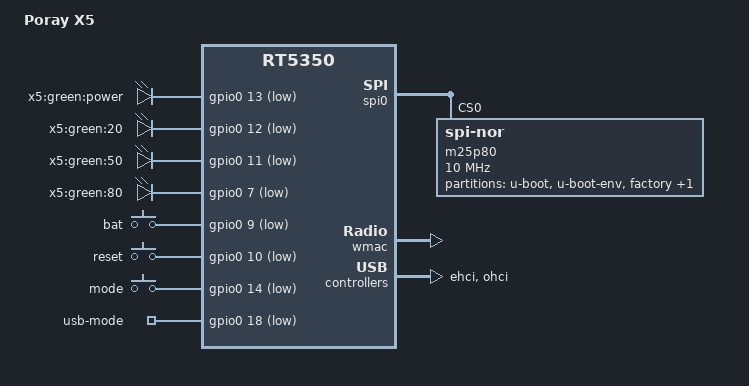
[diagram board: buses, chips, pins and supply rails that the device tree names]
/dts-v1/;

#include "rt5350.dtsi"

#include <dt-bindings/gpio/gpio.h>
#include <dt-bindings/input/input.h>

/ {
	compatible = "poray,x5", "ralink,rt5350-soc";
	model = "Poray X5";

	aliases {
		led-status = &led_power;
	};

	gpio-leds {
		compatible = "gpio-leds";

		led_power: power {
			label = "x5:green:power";
			gpios = <&gpio0 13 GPIO_ACTIVE_LOW>;
		};

		20 {
			label = "x5:green:20";
			gpios = <&gpio0 12 GPIO_ACTIVE_LOW>;
		};

		50 {
			label = "x5:green:50";
			gpios = <&gpio0 11 GPIO_ACTIVE_LOW>;
		};

		80 {
			label = "x5:green:80";
			gpios = <&gpio0 7 GPIO_ACTIVE_LOW>;
		};
	};

	gpio-keys-polled {
		compatible = "gpio-keys-polled";
		poll-interval = <20>;

		bat {
			label = "bat";
			gpios = <&gpio0 9 GPIO_ACTIVE_LOW>;
			linux,code = <KEY_WPS_BUTTON>;
		};

		reset {
			label = "reset";
			gpios = <&gpio0 10 GPIO_ACTIVE_LOW>;
			linux,code = <KEY_RESTART>;
		};

		mode {
			label = "mode";
			gpios = <&gpio0 14 GPIO_ACTIVE_LOW>;
			linux,code = <BTN_0>;
			linux,input-type = <EV_SW>;
		};
	};

	gpio_export {
		compatible = "gpio-export";
		#size-cells = <0>;

		usb-mode {
			gpio-export,name = "usb-mode";
			gpio-export,output = <0>;
			gpios = <&gpio0 18 GPIO_ACTIVE_LOW>;
		};
	};
};

&spi0 {
	status = "okay";

	m25p80@0 {
		compatible = "jedec,spi-nor";
		reg = <0>;
		spi-max-frequency = <10000000>;

		partitions {
			compatible = "fixed-partitions";
			#address-cells = <1>;
			#size-cells = <1>;

			partition@0 {
				label = "u-boot";
				reg = <0x0 0x30000>;
				read-only;
			};

			partition@30000 {
				label = "u-boot-env";
				reg = <0x30000 0x10000>;
				read-only;
			};

			factory: partition@40000 {
				label = "factory";
				reg = <0x40000 0x10000>;
				read-only;
			};

			partition@50000 {
				label = "firmware";
				reg = <0x50000 0x7b0000>;
			};
		};
	};
};

&pinctrl {
	state_default: pinctrl0 {
		gpio {
			ralink,group = "i2c", "jtag", "uartf";
			ralink,function = "gpio";
		};
	};
};

&ethernet {
	mtd-mac-address = <&factory 0x4>;
};

&esw {
	mediatek,portmap = <0x2f>;
	mediatek,led_polarity = <1>;
};

&wmac {
	ralink,mtd-eeprom = <&factory 0>;
	ralink,led-polarity = <1>;
};

&ehci {
	status = "okay";
};

&ohci {
	status = "okay";
};
